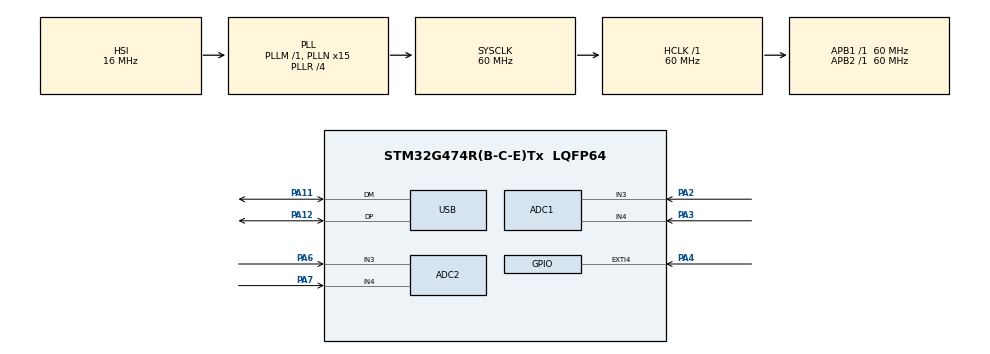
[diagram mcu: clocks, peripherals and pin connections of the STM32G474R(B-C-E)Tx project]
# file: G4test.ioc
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ADC1.Channel-2\#ChannelRegularConversion=ADC_CHANNEL_3
ADC1.ClockPrescaler=ADC_CLOCK_SYNC_PCLK_DIV1
ADC1.ContinuousConvMode=ENABLE
ADC1.DMAAccessModeView=ENABLE
ADC1.DMAContinuousRequests=ENABLE
ADC1.Mode=ADC_DUALMODE_INTERL
ADC1.NbrOfConversionFlag=1
ADC1.OffsetNumber-2\#ChannelRegularConversion=ADC_OFFSET_NONE
ADC1.Rank-2\#ChannelRegularConversion=1
ADC1.SamplingTime-2\#ChannelRegularConversion=ADC_SAMPLETIME_2CYCLES_5
ADC1.SingleDiff-2\#ChannelRegularConversion=ADC_DIFFERENTIAL_ENDED
ADC1.TwoSamplingDelay=ADC_TWOSAMPLINGDELAY_4CYCLES
ADC1.master=1
ADC2.Channel-2\#ChannelRegularConversion=ADC_CHANNEL_3
ADC2.ClockPrescaler=ADC_CLOCK_SYNC_PCLK_DIV1
ADC2.DMAAccessModeView=ENABLE
ADC2.Mode=ADC_DUALMODE_INTERL
ADC2.NbrOfConversionFlag=1
ADC2.OffsetNumber-2\#ChannelRegularConversion=ADC_OFFSET_NONE
ADC2.Rank-2\#ChannelRegularConversion=1
ADC2.SamplingTime-2\#ChannelRegularConversion=ADC_SAMPLETIME_2CYCLES_5
ADC2.SingleDiff-2\#ChannelRegularConversion=ADC_DIFFERENTIAL_ENDED
ADC2.TwoSamplingDelay=ADC_TWOSAMPLINGDELAY_4CYCLES
Dma.ADC1.0.Direction=DMA_PERIPH_TO_MEMORY
Dma.ADC1.0.EventEnable=DISABLE
Dma.ADC1.0.Instance=DMA1_Channel1
Dma.ADC1.0.MemDataAlignment=DMA_MDATAALIGN_WORD
Dma.ADC1.0.MemInc=DMA_MINC_ENABLE
Dma.ADC1.0.Mode=DMA_CIRCULAR
Dma.ADC1.0.PeriphDataAlignment=DMA_PDATAALIGN_WORD
Dma.ADC1.0.PeriphInc=DMA_PINC_DISABLE
Dma.ADC1.0.Polarity=HAL_DMAMUX_REQ_GEN_RISING
Dma.ADC1.0.Priority=DMA_PRIORITY_LOW
Dma.ADC1.0.RequestNumber=1
Dma.ADC1.0.SignalID=NONE
Dma.ADC1.0.SyncEnable=DISABLE
Dma.ADC1.0.SyncPolarity=HAL_DMAMUX_SYNC_NO_EVENT
Dma.ADC1.0.SyncRequestNumber=1
Dma.ADC1.0.SyncSignalID=NONE
Dma.Request0=ADC1
Mcu.Family=STM32G4
Mcu.Name=STM32G474R(B-C-E)Tx
Mcu.Package=LQFP64
NVIC.DMA1_Channel1_IRQn=true\:0\:0\:false\:false\:true\:false\:true\:true
NVIC.EXTI4_IRQn=true\:0\:0\:false\:false\:true\:true\:true\:true
NVIC.PriorityGroup=NVIC_PRIORITYGROUP_4
NVIC.USB_LP_IRQn=true\:0\:0\:false\:false\:true\:false\:true\:true
PA11.Mode=Device
PA11.Signal=USB_DM
PA12.Mode=Device
PA12.Signal=USB_DP
PA2.Mode=IN3-Differential
PA2.Signal=ADC1_IN3
PA3.Mode=IN3-Differential
PA3.Signal=ADC1_IN4
PA4.Signal=GPXTI4
PA6.Mode=IN3-Differential
PA6.Signal=ADC2_IN3
PA7.Mode=IN3-Differential
PA7.Signal=ADC2_IN4
ProjectManager.HeapSize=0x200
ProjectManager.StackSize=0x400
ProjectManager.TargetToolchain=CMake
RCC.ADC12CLockSelection=RCC_ADC12CLKSOURCE_PLL
RCC.ADC12Freq_Value=60000000
RCC.ADC345Freq_Value=60000000
RCC.AHBFreq_Value=60000000
RCC.APB1Freq_Value=60000000
RCC.APB1TimFreq_Value=60000000
RCC.APB2Freq_Value=60000000
RCC.APB2TimFreq_Value=60000000
RCC.CK48CLockSelection=RCC_USBCLKSOURCE_HSI48
RCC.CortexFreq_Value=60000000
RCC.EXTERNAL_CLOCK_VALUE=12288000
RCC.HCLKFreq_Value=60000000
RCC.HSE_VALUE=8000000
RCC.HSI48_VALUE=48000000
RCC.HSI_VALUE=16000000
RCC.LSE_VALUE=32768
RCC.PLLN=15
RCC.PLLP=RCC_PLLP_DIV4
RCC.PLLQ=RCC_PLLQ_DIV4
RCC.PLLR=RCC_PLLR_DIV4
RCC.SYSCLKFreq_VALUE=60000000
RCC.SYSCLKSource=RCC_SYSCLKSOURCE_PLLCLK
RCC.USBFreq_Value=48000000
RCC.VCOOutputFreq_Value=240000000
USB_DEVICE.CLASS_NAME_FS=CDC
USB_DEVICE.VirtualMode=Cdc
USB_DEVICE.VirtualModeFS=Cdc_FS
VP_SYS_VS_DBSignals.Mode=DisableDeadBatterySignals
VP_USB_DEVICE_VS_USB_DEVICE_CDC_FS.Mode=CDC_FS
board=custom

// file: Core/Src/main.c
/* USER CODE BEGIN Header */
/**
  ******************************************************************************
  * @file           : main.c
  * @brief          : Main program body
  ******************************************************************************
  * @attention
  *
  * Copyright (c) 2026 STMicroelectronics.
  * All rights reserved.
  *
  * This software is licensed under terms that can be found in the LICENSE file
  * in the root directory of this software component.
  * If no LICENSE file comes with this software, it is provided AS-IS.
  *
  ******************************************************************************
  */
/* USER CODE END Header */
#include "main.h"
#include "usb_device.h"

/* USER CODE BEGIN Includes */
#include "usbd_cdc_if.h"
#include <stdio.h>
/* USER CODE END Includes */

/* USER CODE BEGIN PM */
// PC13 LED control (active low: 0 = ON, 1 = OFF)
static inline void LED_On(void)  { GPIOC->BSRR = (uint32_t)GPIO_PIN_13 << 16U; }
static inline void LED_Off(void) { GPIOC->BSRR = (uint32_t)GPIO_PIN_13; }
static inline void LED_Toggle(void) { GPIOC->ODR ^= GPIO_PIN_13; }
/* USER CODE END PM */

ADC_HandleTypeDef hadc1;
ADC_HandleTypeDef hadc2;
DMA_HandleTypeDef hdma_adc1;

/* USER CODE BEGIN PV */
#define CIRCULAR_BUFFER_SIZE 120  // 120 x uint32_t = 240 samples (interleaved ADC1/ADC2)
#define TOTAL_SAMPLES        240
#define PRE_TRIGGER_SAMPLES  80   // 10 us @ 8 MSPS
#define POST_TRIGGER_SAMPLES 160  // 20 us @ 8 MSPS

// Circular DMA buffer: lower 16-bits = ADC1, upper 16-bits = ADC2
uint32_t adc_raw_buffer[CIRCULAR_BUFFER_SIZE];

// Linear reconstructed timeline
uint16_t decoded_signal[TOTAL_SAMPLES];

// Volatile flags for ISR <-> main communication
volatile uint8_t  data_ready              = 0;
volatile uint8_t  trigger_detected        = 0;
volatile uint16_t trigger_pos             = 0;
volatile uint8_t  post_trigger_dma_events = 0;
volatile uint8_t  uart_busy               = 0;  // Guard: ignore EXTI during UART
/* USER CODE END PV */

void SystemClock_Config(void);
static void MX_GPIO_Init(void);
static void MX_DMA_Init(void);
static void MX_ADC1_Init(void);
static void MX_ADC2_Init(void);
/* USER CODE BEGIN PFP */
static void Unpack_Ultrasound_Timeline(uint16_t pos);
static void Send_Signal_Over_UART(void);
static inline void Check_PostTrigger_Completion(void);
/* USER CODE END PFP */

/* USER CODE BEGIN 0 */
/**
  * @brief  EXTI rising-edge callback (trigger event at time t)
  *         Captures the current DMA write position immediately.
  *         Runs in ISR context — must be minimal and fast.
  */
void HAL_GPIO_EXTI_Callback(uint16_t GPIO_Pin)
{
  if (GPIO_Pin == GPIO_PIN_4)
  {
    // Ignore trigger during UART transmission (echo rejection)
    if (uart_busy) return;
    // Ignore subsequent edges after first trigger (re-entry guard)
    if (trigger_detected) return;

    // Read remaining DMA transfers to pinpoint circular index
    uint32_t remaining = __HAL_DMA_GET_COUNTER(&hdma_adc1);
    // Bounds guard: protect against NDTR reload transient (remaining==0)
    if (remaining == 0 || remaining > CIRCULAR_BUFFER_SIZE)
      remaining = 1;
    trigger_pos = (uint16_t)(CIRCULAR_BUFFER_SIZE - remaining);

    // Reset post-trigger event counter
    post_trigger_dma_events = 0;

    // Signal that trigger occurred
    trigger_detected = 1;
  }
}

/**
  * @brief  Shared post-trigger completion logic for HT/TC DMA callbacks.
  *         Need 2 events (HT + TC) to guarantee >= 80 post-trigger words.
  */
static inline void Check_PostTrigger_Completion(void)
{
  if (trigger_detected)
  {
    post_trigger_dma_events++;
    if (post_trigger_dma_events >= 2)
    {
      HAL_ADCEx_MultiModeStop_DMA(&hadc1);
      data_ready = 1;
      trigger_detected = 0;
    }
  }
}

/**
  * @brief  DMA Half-Transfer callback (DMA has written 60 words)
  */
void HAL_ADC_ConvHalfCpltCallback(ADC_HandleTypeDef* hadc)
{
  if (hadc->Instance == ADC1)
    Check_PostTrigger_Completion();
}

/**
  * @brief  DMA Transfer-Complete callback (DMA has wrapped around 120 words)
  */
void HAL_ADC_ConvCpltCallback(ADC_HandleTypeDef* hadc)
{
  if (hadc->Instance == ADC1)
    Check_PostTrigger_Completion();
}

/**
  * @brief  Unpack circular DMA buffer into linear chronological timeline.
  *         Uses a snapshot of trigger_pos to avoid ISR corruption.
  *         ADC1 -> even indices, ADC2 -> odd indices.
  */
static void Unpack_Ultrasound_Timeline(uint16_t pos)
{
  uint16_t start_idx = (pos + CIRCULAR_BUFFER_SIZE - (PRE_TRIGGER_SAMPLES / 2))
                       % CIRCULAR_BUFFER_SIZE;

  uint16_t timeline_idx = 0;

  for (uint16_t i = 0; i < CIRCULAR_BUFFER_SIZE; i++)
  {
    uint16_t buf_idx = (start_idx + i) % CIRCULAR_BUFFER_SIZE;
    uint32_t word = adc_raw_buffer[buf_idx];

    decoded_signal[timeline_idx++] = (uint16_t)(word & 0xFFFF);          // ADC1
    decoded_signal[timeline_idx++] = (uint16_t)((word >> 16) & 0xFFFF);  // ADC2
  }
}

/**
  * @brief  Transmit all decoded ADC samples over USB CDC as decimal strings.
  *         Each sample on its own line, terminated by '\n'.
  *         Builds full output buffer then sends in one CDC_Transmit_FS call.
  */
static void Send_Signal_Over_UART(void)
{
  // Max: 240 samples x 6 chars ("65535\n") = 1440 bytes
  char buf[TOTAL_SAMPLES * 6];
  uint16_t pos = 0;

  for (uint16_t i = 0; i < TOTAL_SAMPLES; i++)
  {
    uint16_t val = decoded_signal[i];

    if (val == 0)
    {
      buf[pos++] = '0';
    }
    else
    {
      char tmp[5];
      uint8_t tlen = 0;
      while (val > 0)
      {
        tmp[tlen++] = '0' + (uint8_t)(val % 10);
        val /= 10;
      }
      for (uint8_t j = 0; j < tlen; j++)
        buf[pos++] = tmp[tlen - 1 - j];
    }
    buf[pos++] = '\n';
  }

  // Send entire buffer via USB CDC (non-blocking, queued to endpoint)
  while (CDC_Transmit_FS((uint8_t*)buf, pos) != USBD_OK)
  {
    HAL_Delay(1);  // Retry if USB endpoint buffer is full
  }
}
/* USER CODE END 0 */

int main(void)
{

  /* MCU Configuration--------------------------------------------------------*/

  /* Reset of all peripherals, Initializes the Flash interface and the Systick. */
  HAL_Init();

  /* Configure the system clock */
  SystemClock_Config();

  /* Initialize all configured peripherals */
  MX_GPIO_Init();
  MX_DMA_Init();
  MX_ADC1_Init();
  MX_ADC2_Init();
  MX_USB_Device_Init();
  /* USER CODE BEGIN 2 */
  // Start the interleaved master/slave DMA pipeline in circular mode
  if (HAL_ADCEx_MultiModeStart_DMA(&hadc1, (uint32_t*)adc_raw_buffer,
      CIRCULAR_BUFFER_SIZE) != HAL_OK)
  {
    Error_Handler();
  }
  /* USER CODE END 2 */

  /* Infinite loop */
  while (1)
  {

    /* USER CODE BEGIN 3 */
    if (data_ready)
    {
      // 1. Snapshot trigger_pos and lock immediately (closes atomicity gap)
      uint16_t snap_pos = trigger_pos;
      trigger_detected = 0;
      data_ready = 0;
      uart_busy = 1;

      // 2. Reconstruct circular buffer using snapshot (ISR-safe)
      Unpack_Ultrasound_Timeline(snap_pos);

      // 3. Transmit decoded signal over USB CDC
      Send_Signal_Over_UART();

      // 4. Unlock: ready for next trigger
      uart_busy = 0;

      // 5. Restart DMA and wait for next ultrasound arrival
      if (HAL_ADCEx_MultiModeStart_DMA(&hadc1, (uint32_t*)adc_raw_buffer,
          CIRCULAR_BUFFER_SIZE) != HAL_OK)
      {
        Error_Handler();
      }
    }
    /* USER CODE END 3 */
  }
}

void SystemClock_Config(void)
{
  RCC_OscInitTypeDef RCC_OscInitStruct = {0};
  RCC_ClkInitTypeDef RCC_ClkInitStruct = {0};

  /** Configure the main internal regulator output voltage
  */
  HAL_PWREx_ControlVoltageScaling(PWR_REGULATOR_VOLTAGE_SCALE1);

  /** Initializes the RCC Oscillators according to the specified parameters
  * in the RCC_OscInitTypeDef structure.
  */
  RCC_OscInitStruct.OscillatorType = RCC_OSCILLATORTYPE_HSI|RCC_OSCILLATORTYPE_HSI48;
  RCC_OscInitStruct.HSIState = RCC_HSI_ON;
  RCC_OscInitStruct.HSICalibrationValue = RCC_HSICALIBRATION_DEFAULT;
  RCC_OscInitStruct.HSI48State = RCC_HSI48_ON;
  RCC_OscInitStruct.PLL.PLLState = RCC_PLL_ON;
  RCC_OscInitStruct.PLL.PLLSource = RCC_PLLSOURCE_HSI;
  RCC_OscInitStruct.PLL.PLLM = RCC_PLLM_DIV1;
  RCC_OscInitStruct.PLL.PLLN = 15;
  RCC_OscInitStruct.PLL.PLLP = RCC_PLLP_DIV4;
  RCC_OscInitStruct.PLL.PLLQ = RCC_PLLQ_DIV4;
  RCC_OscInitStruct.PLL.PLLR = RCC_PLLR_DIV4;
  if (HAL_RCC_OscConfig(&RCC_OscInitStruct) != HAL_OK)
  {
    Error_Handler();
  }

  /** Initializes the CPU, AHB and APB buses clocks
  */
  RCC_ClkInitStruct.ClockType = RCC_CLOCKTYPE_HCLK|RCC_CLOCKTYPE_SYSCLK
                              |RCC_CLOCKTYPE_PCLK1|RCC_CLOCKTYPE_PCLK2;
  RCC_ClkInitStruct.SYSCLKSource = RCC_SYSCLKSOURCE_PLLCLK;
  RCC_ClkInitStruct.AHBCLKDivider = RCC_SYSCLK_DIV1;
  RCC_ClkInitStruct.APB1CLKDivider = RCC_HCLK_DIV1;
  RCC_ClkInitStruct.APB2CLKDivider = RCC_HCLK_DIV1;

  if (HAL_RCC_ClockConfig(&RCC_ClkInitStruct, FLASH_LATENCY_1) != HAL_OK)
  {
    Error_Handler();
  }
}

static void MX_ADC1_Init(void)
{

  ADC_MultiModeTypeDef multimode = {0};
  ADC_ChannelConfTypeDef sConfig = {0};

  /** Common config
  */
  hadc1.Instance = ADC1;
  hadc1.Init.ClockPrescaler = ADC_CLOCK_SYNC_PCLK_DIV1;
  hadc1.Init.Resolution = ADC_RESOLUTION_12B;
  hadc1.Init.DataAlign = ADC_DATAALIGN_RIGHT;
  hadc1.Init.GainCompensation = 0;
  hadc1.Init.ScanConvMode = ADC_SCAN_DISABLE;
  hadc1.Init.EOCSelection = ADC_EOC_SINGLE_CONV;
  hadc1.Init.LowPowerAutoWait = DISABLE;
  hadc1.Init.ContinuousConvMode = ENABLE;
  hadc1.Init.NbrOfConversion = 1;
  hadc1.Init.DiscontinuousConvMode = DISABLE;
  hadc1.Init.ExternalTrigConv = ADC_SOFTWARE_START;
  hadc1.Init.ExternalTrigConvEdge = ADC_EXTERNALTRIGCONVEDGE_NONE;
  hadc1.Init.DMAContinuousRequests = ENABLE;
  hadc1.Init.Overrun = ADC_OVR_DATA_PRESERVED;
  hadc1.Init.OversamplingMode = DISABLE;
  if (HAL_ADC_Init(&hadc1) != HAL_OK)
  {
    Error_Handler();
  }

  /** Configure the ADC multi-mode
  */
  multimode.Mode = ADC_DUALMODE_INTERL;
  multimode.DMAAccessMode = ADC_DMAACCESSMODE_12_10_BITS;
  multimode.TwoSamplingDelay = ADC_TWOSAMPLINGDELAY_4CYCLES;
  if (HAL_ADCEx_MultiModeConfigChannel(&hadc1, &multimode) != HAL_OK)
  {
    Error_Handler();
  }

  /** Configure Regular Channel
  */
  sConfig.Channel = ADC_CHANNEL_3;
  sConfig.Rank = ADC_REGULAR_RANK_1;
  sConfig.SamplingTime = ADC_SAMPLETIME_2CYCLES_5;
  sConfig.SingleDiff = ADC_DIFFERENTIAL_ENDED;
  sConfig.OffsetNumber = ADC_OFFSET_NONE;
  sConfig.Offset = 0;
  if (HAL_ADC_ConfigChannel(&hadc1, &sConfig) != HAL_OK)
  {
    Error_Handler();
  }

}

static void MX_ADC2_Init(void)
{

  ADC_ChannelConfTypeDef sConfig = {0};

  /** Common config
  */
  hadc2.Instance = ADC2;
  hadc2.Init.ClockPrescaler = ADC_CLOCK_SYNC_PCLK_DIV1;
  hadc2.Init.Resolution = ADC_RESOLUTION_12B;
  hadc2.Init.DataAlign = ADC_DATAALIGN_RIGHT;
  hadc2.Init.GainCompensation = 0;
  hadc2.Init.ScanConvMode = ADC_SCAN_DISABLE;
  hadc2.Init.EOCSelection = ADC_EOC_SINGLE_CONV;
  hadc2.Init.LowPowerAutoWait = DISABLE;
  hadc2.Init.ContinuousConvMode = ENABLE;
  hadc2.Init.NbrOfConversion = 1;
  hadc2.Init.DiscontinuousConvMode = DISABLE;
  hadc2.Init.DMAContinuousRequests = DISABLE;
  hadc2.Init.Overrun = ADC_OVR_DATA_PRESERVED;
  hadc2.Init.OversamplingMode = DISABLE;
  if (HAL_ADC_Init(&hadc2) != HAL_OK)
  {
    Error_Handler();
  }

  /** Configure Regular Channel
  */
  sConfig.Channel = ADC_CHANNEL_3;
  sConfig.Rank = ADC_REGULAR_RANK_1;
  sConfig.SamplingTime = ADC_SAMPLETIME_2CYCLES_5;
  sConfig.SingleDiff = ADC_DIFFERENTIAL_ENDED;
  sConfig.OffsetNumber = ADC_OFFSET_NONE;
  sConfig.Offset = 0;
  if (HAL_ADC_ConfigChannel(&hadc2, &sConfig) != HAL_OK)
  {
    Error_Handler();
  }

}

static void MX_DMA_Init(void)
{

  /* DMA controller clock enable */
  __HAL_RCC_DMAMUX1_CLK_ENABLE();
  __HAL_RCC_DMA1_CLK_ENABLE();

  /* DMA interrupt init */
  /* DMA1_Channel1_IRQn interrupt configuration */
  HAL_NVIC_SetPriority(DMA1_Channel1_IRQn, 0, 0);
  HAL_NVIC_EnableIRQ(DMA1_Channel1_IRQn);

}

static void MX_GPIO_Init(void)
{
  GPIO_InitTypeDef GPIO_InitStruct = {0};

  /* GPIO Ports Clock Enable */
  __HAL_RCC_GPIOA_CLK_ENABLE();

  /*Configure GPIO pin : PA4 */
  GPIO_InitStruct.Pin = GPIO_PIN_4;
  GPIO_InitStruct.Mode = GPIO_MODE_IT_RISING;
  GPIO_InitStruct.Pull = GPIO_NOPULL;
  HAL_GPIO_Init(GPIOA, &GPIO_InitStruct);

  /* EXTI interrupt init*/
  HAL_NVIC_SetPriority(EXTI4_IRQn, 0, 0);
  HAL_NVIC_EnableIRQ(EXTI4_IRQn);

  /* USER CODE BEGIN MX_GPIO_Init_2 */
    // PC13 LED — Open-Drain output (active low)
    __HAL_RCC_GPIOC_CLK_ENABLE();

    GPIO_InitStruct.Pin   = GPIO_PIN_13;
    GPIO_InitStruct.Mode  = GPIO_MODE_OUTPUT_OD;
    GPIO_InitStruct.Pull  = GPIO_NOPULL;
    GPIO_InitStruct.Speed = GPIO_SPEED_FREQ_LOW;
    HAL_GPIO_Init(GPIOC, &GPIO_InitStruct);

    LED_Off();  // Start with LED off
  /* USER CODE END MX_GPIO_Init_2 */
}

void Error_Handler(void)
{
  __disable_irq();
  while (1)
  {
  }
}
